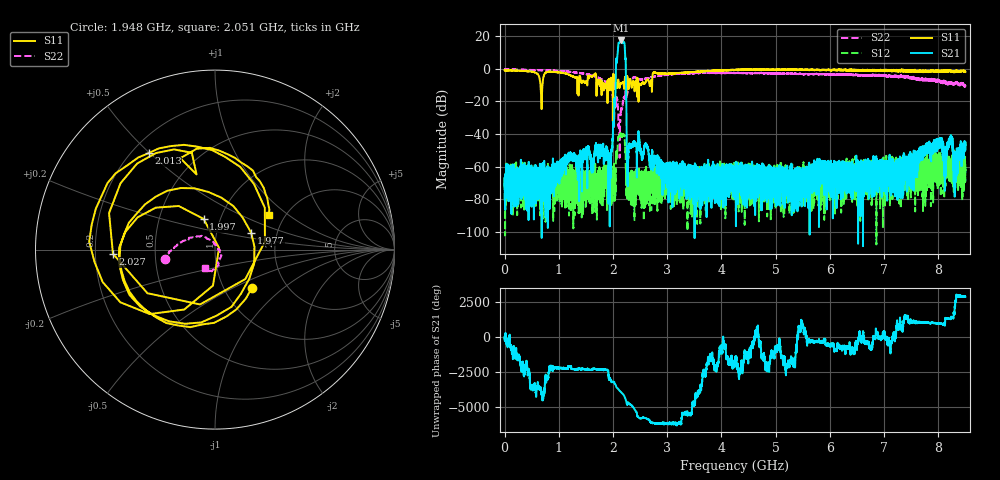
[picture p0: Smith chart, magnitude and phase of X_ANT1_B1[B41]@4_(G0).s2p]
#  HZ  S  RI  R  50.00
! Rohde & Schwarz Vector Network Analyzer
! Rohde-Schwarz,ZNBT8-20Port,1318700624101681,3.50
! Created: UTC 7/15/2025, 2:11:24 PM
! freq[Hz]  re:S1010  im:S1010  re:S0410  im:S0410  re:S1004  im:S1004  re:S44  im:S44
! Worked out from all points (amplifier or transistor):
!   8500 points, 1 MHz to 8.5 GHz, reference 50 ohm
!   highest |S21| = 17.4 dB at 2.144 GHz (marker M1)
!   |S21| within 3 dB of that: 2.095 GHz to 2.215 GHz (119.6 MHz wide, 5.55 % of centre)
!   unconditionally stable (mu >= 1): start of sweep to end of sweep
!   at 1.417 GHz: K = 856568.62, MAG = -54.7 dB, |S12| = -74.0 dB
!   at 4.251 GHz: K = 240264.53, MAG = -53.5 dB, |S12| = -72.2 dB
!   at 8.5 GHz: K = 35871.98, MAG = -41.7 dB, |S12| = -60.5 dB
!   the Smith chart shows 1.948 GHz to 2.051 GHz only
!   S11 on the Smith chart (normalised r, x): 1.948 GHz: 1.35, -0.63; 1.977 GHz: 1.47, +0.29; 1.997 GHz: 0.83, +0.29; 2.013 GHz: 0.27, +0.50; 2.027 GHz: 0.27, -0.02; 2.051 GHz: 1.65, +0.73
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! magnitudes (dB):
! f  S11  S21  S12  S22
! 1 MHz  -0.9  -71.7  -80.8  -0.2
! 78 MHz  -0.9  -66.0  -65.5  -0.3
! 677 MHz  -19.1  -61.0  -71.9  -0.9
! 787 MHz  -1.9  -80.2  -74.5  -1.0
! 1.418 GHz  -8.4  -54.5  -80.7  -2.7
! 1.948 GHz  -10.6  -51.5  -79.9  -11.0
! 1.977 GHz  -13.1  -50.0  -64.4  -13.7
! 1.997 GHz  -14.8  -42.2  -65.8  -18.0
! 2.013 GHz  -3.7  -34.2  -72.6  -28.9
! 2.027 GHz  -4.9  -18.2  -66.0  -25.1
! 2.051 GHz  -9.0  -4.5  -58.8  -18.5
! 2.093 GHz  -7.1  13.5  -43.7  -24.2
! 2.144 GHz  -8.6  17.4  -39.9  -26.3
! 2.205 GHz  -12.1  16.1  -41.3  -17.5
! 2.292 GHz  -11.1  -47.8  -67.2  -11.5
! 2.834 GHz  -2.8  -60.7  -63.4  -4.3
! 4.251 GHz  -0.7  -65.5  -72.2  -2.6
! 5.667 GHz  -0.3  -69.9  -62.7  -3.0
! 7.084 GHz  -0.9  -66.6  -63.9  -4.2
! 8.22 GHz  -1.2  -44.3  -63.6  -8.2
! 8.321 GHz  -1.0  -51.1  -57.1  -8.8
! 8.5 GHz  -1.8  -46.7  -60.5  -10.7
